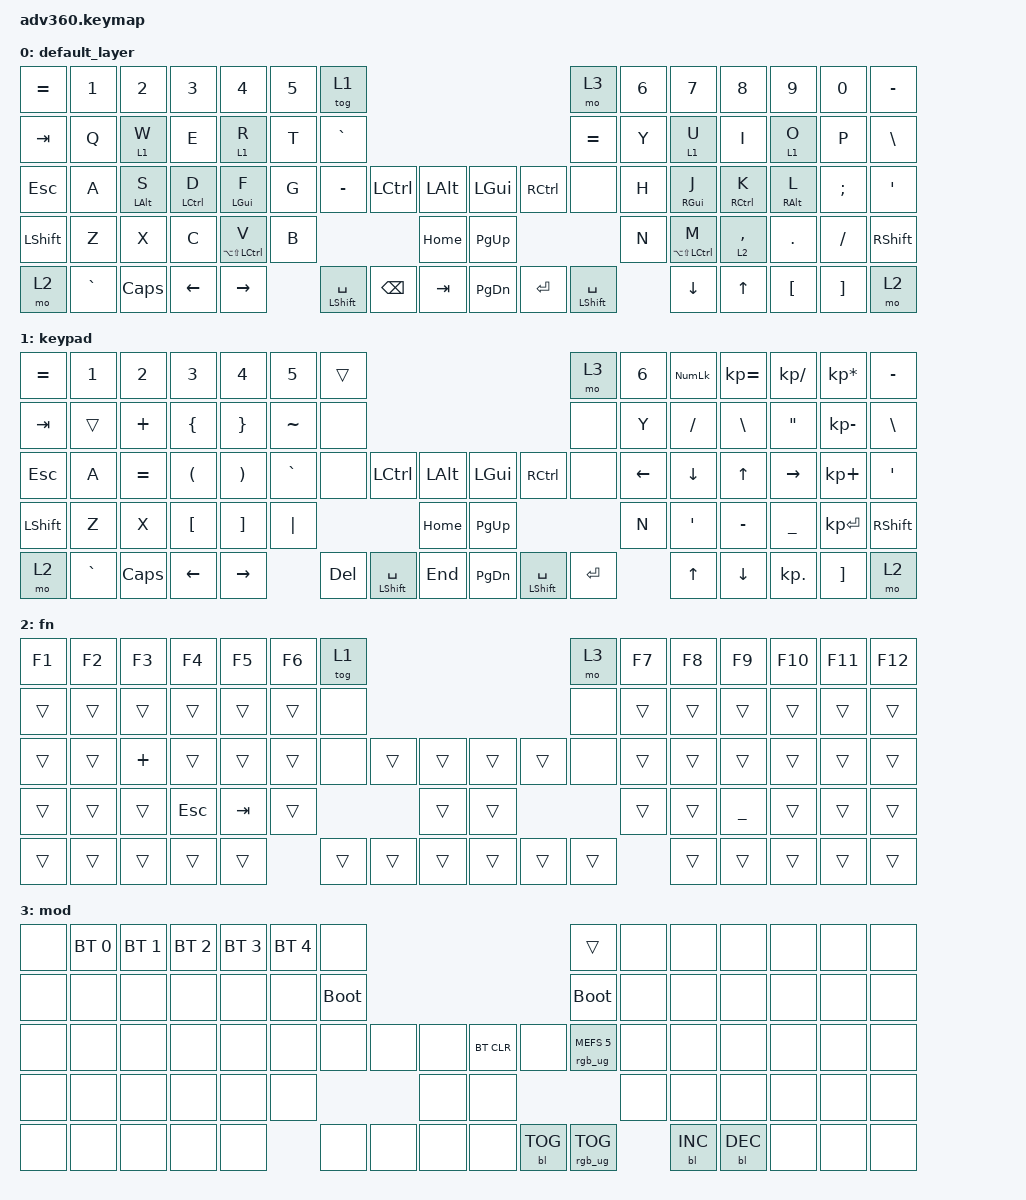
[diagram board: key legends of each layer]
#include <behaviors.dtsi>
#include <dt-bindings/zmk/backlight.h>
#include <dt-bindings/zmk/bt.h>
#include <dt-bindings/zmk/keys.h>
#include <dt-bindings/zmk/rgb.h>

/ {
    behaviors {
        #include "macros.dtsi"

        hmL: homerow_mods {
            compatible = "zmk,behavior-hold-tap";
            label = "HOMEROW_MODS";
            #binding-cells = <2>;
            tapping-term-ms = <200>;
            quick_tap_ms = <200>;
            flavor = "tap-preferred";
            bindings = <&kp>, <&kp>;

            require-prior-idle-ms = <200>;
            hold-trigger-key-positions = <7 8 9 10 11 12 13 21 22 23 24 25 26 27 37 38 39 40 41 42 43 44 45 53 54 55 56 57 58 59 68 69 70 71 72 73 74 75>;
        };

        hmR: hmR {
            compatible = "zmk,behavior-hold-tap";
            label = "HMR";
            #binding-cells = <2>;
            tapping-term-ms = <200>;
            quick_tap_ms = <175>;
            flavor = "tap-preferred";
            bindings = <&kp>, <&kp>;

            require-prior-idle-ms = <200>;
            hold-trigger-key-positions = <0 1 2 3 4 5 6 14 15 16 17 18 19 20 28 29 30 31 32 33 34 35 36 46 47 48 49 50 51 52 60 61 62 63 64 65 66 67>;
        };
    };

    combos { compatible = "zmk,combos"; };

    keymap {
        compatible = "zmk,keymap";

        default_layer {
            bindings = <
&kp EQUAL  &kp N1     &kp N2       &kp N3        &kp N4                &kp N5  &tog 1                                                                   &mo 3                 &kp N6  &kp N7                &kp N8        &kp N9       &kp N0    &kp MINUS
&kp TAB    &kp Q      &lt 1 W      &kp E         &lt 1 R               &kp T   &kp GRAVE                                                                &kp EQUAL             &kp Y   &lt 1 U               &kp I         &lt 1 O      &kp P     &kp BSLH
&kp ESC    &kp A      &hmL LALT S  &hmL LCTRL D  &hmL LEFT_GUI F       &kp G   &kp MINUS             &kp LCTRL      &kp LALT      &kp LGUI   &kp RCTRL  &none                 &kp H   &hmR RGUI J           &hmR RCTRL K  &hmR RALT L  &kp SEMI  &kp SQT
&kp LSHFT  &kp Z      &kp X        &kp C         &hmL LA(LS(LCTRL)) V  &kp B                                        &kp HOME      &kp PG_UP                                   &kp N   &hmR LA(LS(LCTRL)) M  &lt 2 COMMA   &kp DOT      &kp FSLH  &kp RSHFT
&mo 2      &kp GRAVE  &kp CAPS     &kp LEFT      &kp RIGHT                     &mt LEFT_SHIFT SPACE  &kp BACKSPACE  &kp TAB       &kp PG_DN  &kp ENTER  &mt LEFT_SHIFT SPACE          &kp DOWN              &kp UP        &kp LBKT     &kp RBKT  &mo 2
            >;
        };

        keypad {
            bindings = <
&kp EQUAL  &kp N1     &kp N2     &kp N3                &kp N4                 &kp N5     &trans                                                                           &mo 3      &kp N6    &kp KP_NUM        &kp KP_EQUAL   &kp KP_DIVIDE      &kp KP_MULTIPLY  &kp MINUS
&kp TAB    &trans     &kp PLUS   &kp LBRC              &kp RBRC               &kp TILDE  &none                                                                            &none      &kp Y     &kp SLASH         &kp BACKSLASH  &kp DOUBLE_QUOTES  &kp KP_MINUS     &kp BSLH
&kp ESC    &kp A      &kp EQUAL  &kp LEFT_PARENTHESIS  &kp RIGHT_PARENTHESIS  &kp GRAVE  &none       &kp LCTRL             &kp LALT      &kp LGUI   &kp RCTRL             &none      &kp LEFT  &kp DOWN          &kp UP         &kp RIGHT          &kp KP_PLUS      &kp SQT
&kp LSHFT  &kp Z      &kp X      &kp LEFT_BRACKET      &kp RIGHT_BRACKET      &kp PIPE                                     &kp HOME      &kp PG_UP                                   &kp N     &kp SINGLE_QUOTE  &kp MINUS      &kp UNDERSCORE     &kp KP_ENTER     &kp RSHFT
&mo 2      &kp GRAVE  &kp CAPS   &kp LEFT              &kp RIGHT                         &kp DELETE  &mt LEFT_SHIFT SPACE  &kp END       &kp PG_DN  &mt LEFT_SHIFT SPACE  &kp ENTER            &kp UP            &kp DOWN       &kp KP_DOT         &kp RBKT         &mo 2
            >;
        };

        fn {
            bindings = <
&kp F1  &kp F2  &kp F3    &kp F4      &kp F5   &kp F6  &tog 1                                      &mo 3   &kp F7  &kp F8  &kp F9          &kp F10  &kp F11  &kp F12
&trans  &trans  &trans    &trans      &trans   &trans  &none                                       &none   &trans  &trans  &trans          &trans   &trans   &trans
&trans  &trans  &kp PLUS  &trans      &trans   &trans  &none   &trans  &trans      &trans  &trans  &none   &trans  &trans  &trans          &trans   &trans   &trans
&trans  &trans  &trans    &kp ESCAPE  &kp TAB  &trans                  &trans      &trans                  &trans  &trans  &kp UNDERSCORE  &trans   &trans   &trans
&trans  &trans  &trans    &trans      &trans           &trans  &trans  &trans      &trans  &trans  &trans          &trans  &trans          &trans   &trans   &trans
            >;
        };

        mod {
            bindings = <
&none  &bt BT_SEL 0  &bt BT_SEL 1  &bt BT_SEL 2  &bt BT_SEL 3  &bt BT_SEL 4  &none                                                  &trans                  &none  &none       &none       &none  &none  &none
&none  &none         &none         &none         &none         &none         &bootloader                                            &bootloader             &none  &none       &none       &none  &none  &none
&none  &none         &none         &none         &none         &none         &none        &none  &none      &bt BT_CLR  &none       &rgb_ug RGB_MEFS_CMD 5  &none  &none       &none       &none  &none  &none
&none  &none         &none         &none         &none         &none                             &none      &none                                           &none  &none       &none       &none  &none  &none
&none  &none         &none         &none         &none                       &none        &none  &none      &none       &bl BL_TOG  &rgb_ug RGB_TOG                &bl BL_INC  &bl BL_DEC  &none  &none  &none
            >;
        };
    };
};
